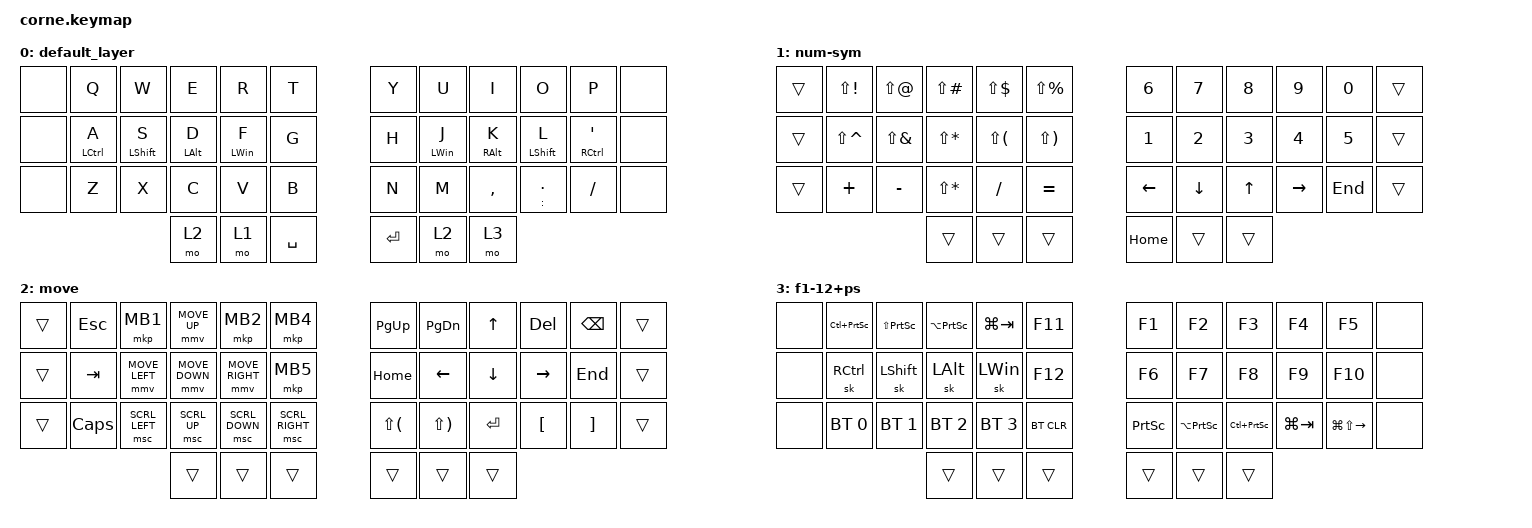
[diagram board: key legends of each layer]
/*
 * Copyright (c) 2020 The ZMK Contributors
 *
 * SPDX-License-Identifier: MIT
 */

#include <behaviors.dtsi>
#include <dt-bindings/zmk/bt.h>
#include <dt-bindings/zmk/keys.h>
#include <dt-bindings/zmk/pointing.h>

/ {
    combos {
        compatible = "zmk,combos";

        q {
            bindings = <&kp ESC>;
            key-positions = <1 2>;
        };

        back {
            bindings = <&kp BACKSPACE>;
            key-positions = <10 9>;
        };

        semi {
            bindings = <&kp SEMICOLON>;
            key-positions = <32 33>;
        };

        minus {
            bindings = <&kp MINUS>;
            key-positions = <15 16>;
            layers = <0>;
        };

        Plus {
            bindings = <&kp EQUAL>;
            key-positions = <19 20>;
            layers = <0>;
        };

        Tab {
            bindings = <&kp TAB>;
            key-positions = <25 26>;
        };
    };

    behaviors {
        MT_350: MT_350 {
            compatible = "zmk,behavior-hold-tap";
            label = "MT_350";
            bindings = <&kp>, <&kp>;

            #binding-cells = <2>;
            tapping-term-ms = <350>;
            flavor = "tap-preferred";
        };
    };

    keymap {
        compatible = "zmk,keymap";

        default_layer {
            // -----------------------------------------------------------------------------------------
            // |  TAB |  Q  |  W  |  E  |  R  |  T  |   |  Y  |  U   |  I  |  O  |  P  | BKSP |
            // | CTRL |  A  |  S  |  D  |  F  |  G  |   |  H  |  J   |  K  |  L  |  ;  |  '   |
            // | SHFT |  Z  |  X  |  C  |  V  |  B  |   |  N  |  M   |  ,  |  .  |  /  | ESC  |
            //                    | GUI | LWR | SPC |   | ENT | RSE  | ALT |

            bindings = <
&none  &kp Q            &kp W                 &kp E               &kp R               &kp T        &kp Y      &kp U               &kp I                &kp O                 &kp P          &none
&none  &MT_350 LCTRL A  &MT_350 LEFT_SHIFT S  &MT_350 LEFT_ALT D  &MT_350 LEFT_WIN F  &kp G        &kp H      &MT_350 LEFT_WIN J  &MT_350 RIGHT_ALT K  &MT_350 LEFT_SHIFT L  &mt RCTRL SQT  &none
&none  &kp Z            &kp X                 &kp C               &kp V               &kp B        &kp N      &kp M               &kp COMMA            &mt COLON DOT         &kp SLASH      &none
                                              &mo 2               &mo 1               &kp SPACE    &kp ENTER  &mo 2               &mo 3
            >;
        };

        num-sym {
            // -----------------------------------------------------------------------------------------
            // |  TAB |  !  |  @  |  #  |  $  |  %  |   |  ^  |  &  |  *  |  (  |  )  | BKSP |
            // | CTRL |     |     |     |     |     |   |  -  |  =  |  [  |  ]  |  \  |  `   |
            // | SHFT |     |     |     |     |     |   |  _  |  +  |  {  |  }  | "|" |  ~   |
            //                    | GUI |     | SPC |   | ENT |     | ALT |

            bindings = <
&trans  &kp LS(EXCL)   &kp LS(AT)    &kp LS(POUND)  &kp LS(DLLR)  &kp LS(PRCNT)    &kp N6    &kp N7    &kp N8        &kp N9     &kp N0   &trans
&trans  &kp LS(CARET)  &kp LS(AMPS)  &kp LS(STAR)   &kp LS(LPAR)  &kp LS(RPAR)     &kp N1    &kp N2    &kp N3        &kp N4     &kp N5   &trans
&trans  &kp PLUS       &kp MINUS     &kp LS(ASTRK)  &kp SLASH     &kp EQUAL        &kp LEFT  &kp DOWN  &kp UP_ARROW  &kp RIGHT  &kp END  &trans
                                     &trans         &trans        &trans           &kp HOME  &trans    &trans
            >;
        };

        move {
            bindings = <
&trans  &kp ESC   &mkp MB1        &mmv MOVE_UP    &mkp MB2         &mkp MB4           &kp PAGE_UP   &kp PAGE_DOWN  &kp UP_ARROW  &kp DEL    &kp BACKSPACE  &trans
&trans  &kp TAB   &mmv MOVE_LEFT  &mmv MOVE_DOWN  &mmv MOVE_RIGHT  &mkp MB5           &kp HOME      &kp LEFT       &kp DOWN      &kp RIGHT  &kp END        &trans
&trans  &kp CAPS  &msc SCRL_LEFT  &msc SCRL_UP    &msc SCRL_DOWN   &msc SCRL_RIGHT    &kp LS(LPAR)  &kp LS(RPAR)   &kp ENTER     &kp LBKT   &kp RBKT       &trans
                                  &trans          &trans           &trans             &trans        &trans         &trans
            >;
        };

        f1-12+ps {
            // -----------------------------------------------------------------------------------------
            // |  TAB |  1  |  2  |  3  |  4  |  5  |   |  6  |  7  |  8  |  9  |  0  | BKSP |
            // | BTCLR| BT1 | BT2 | BT3 | BT4 | BT5 |   | LFT | DWN |  UP | RGT |     |      |
            // | SHFT |     |     |     |     |     |   |     |     |     |     |     |      |
            //                    | GUI |     | SPC |   | ENT |     | ALT |

            bindings = <
&none  &kp LC(PRINTSCREEN)  &kp LS(PRINTSCREEN)  &kp LA(PRINTSCREEN)  &kp LG(TAB)   &kp F11       &kp F1           &kp F2               &kp F3               &kp F4       &kp F5             &none
&none  &sk RCTRL            &sk LEFT_SHIFT       &sk LEFT_ALT         &sk LEFT_WIN  &kp F12       &kp F6           &kp F7               &kp F8               &kp F9       &kp F10            &none
&none  &bt BT_SEL 0         &bt BT_SEL 1         &bt BT_SEL 2         &bt BT_SEL 3  &bt BT_CLR    &kp PRINTSCREEN  &kp LA(PRINTSCREEN)  &kp LC(PRINTSCREEN)  &kp LG(TAB)  &kp LG(LS(RIGHT))  &none
                                                 &trans               &trans        &trans        &trans           &trans               &trans
            >;
        };
    };
};
